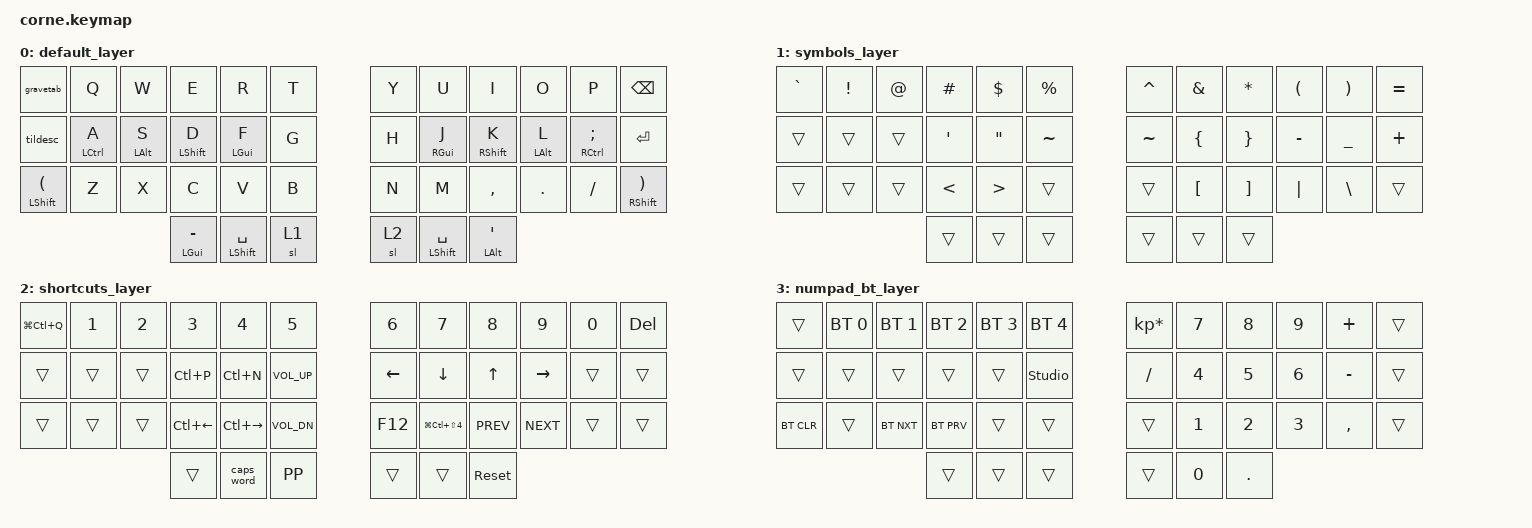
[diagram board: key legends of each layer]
/*
 * Copyright (c) 2020 The ZMK Contributors
 *
 * SPDX-License-Identifier: MIT
 */

#include <behaviors.dtsi>
#include <dt-bindings/zmk/keys.h>
#include <dt-bindings/zmk/bt.h>

&mt {
  tapping-term-ms = <201>;
  flavor = "tap-preferred";
 };

/ {
        conditional_layers {
           compatible = "zmk,conditional-layers";
            tri_layer {
                if-layers = <1 2>;
                then-layer = <3>;
            };
        }; 

        behaviors {
            tildesc: tilde_escape {
                compatible = "zmk,behavior-mod-morph";
                #binding-cells = <0>;
                bindings = <&kp ESC>, <&kp TILDE>;
                mods = <(MOD_LSFT|MOD_RSFT)>;
            };
      
            gravetab: grave_tab {
                compatible = "zmk,behavior-mod-morph";
                #binding-cells = <0>;
                bindings = <&kp TAB>, <&kp GRAVE>;
                mods = <(MOD_LSFT|MOD_RSFT)>;
            };
      
            lhm: left_homerow_mods {
                compatible = "zmk,behavior-hold-tap";
                #binding-cells = <2>;
                tapping-term-ms = <350>;
                quick-tap-ms = <100>;
                flavor = "tap-preferred";
                bindings = <&kp>, <&kp>;
                hold-trigger-key-positions = <6 7 8 9 10 11 13 14 15 16 18 19 20 21 22 23 30 31 32 33 34 35 36 37 38 39 40 41>;
            };

            rhm: right_homerow_mods {
                compatible = "zmk,behavior-hold-tap";
                #binding-cells = <2>;
                tapping-term-ms = <350>;
                quick-tap-ms = <100>;
                flavor = "tap-preferred";
                bindings = <&kp>, <&kp>;
                hold-trigger-key-positions = <0 1 2 3 4 5 12 13 14 15 16 17 19 20 21 22 24 25 26 27 28 29 36 37 38 39 40 41>;
            };
        };

        keymap {
                compatible = "zmk,keymap";

                default_layer {
// ----------------------------------------------------------------------------------------------------------------------------------------------------
// | TAB / `  |  Q         |  W        |  E           |  R        |  T  | - |  Y        |  U           |  I        |  O        |  P        | BSPC     |
// | ESC / ~  |  LCTL / A  | LALT / S  | LSFT / D     | LGUI / F  |  G  | - |  H        | RGUI / J     | RSFT / K  | LALT / L  | RCTL / ;  | RET      |
// | LSFT / ( |  Z         |  X        |  C           |  V        |  B  | - |  N        |  M           |  ,        |  .        |  /        | RSFT / ) |
//                         | LGUI / -  | LSHIFT / SPC | SYMBOLS             | SHORTCUTS | RSHIFT / SPC | LALT / '  |
                        bindings = <
   &gravetab       &kp Q           &kp W            &kp E         &kp R        &kp T   &kp Y             &kp U        &kp I          &kp O        &kp P            &kp BSPC
   &tildesc        &lhm LCTRL A    &lhm LALT S      &lhm LSHIFT D &lhm LGUI F  &kp G   &kp H             &rhm RGUI J  &rhm RSHIFT K  &rhm LALT L  &rhm RCTRL SEMI  &kp RET
   &mt LSHIFT LPAR &kp Z           &kp X            &kp C         &kp V        &kp B   &kp N             &kp M        &kp COMMA      &kp DOT      &kp FSLH         &mt RSHIFT RPAR
                   &mt LGUI MINUS  &mt LSHIFT SPACE &sl 1                      &sl 2   &mt LSHIFT SPACE  &mt LALT SQT
                        >;
                };
                symbols_layer {
// ------------------------------------------------------------------------------------------
// |  `       |  !  |  @  |  #  |  $  |  %  |   |  ^     |  &  |  *  |  (  |  )  |  =       |
// | ESC / ~  |  A  |  S  |  '  |  "  |  ~  |   |  ~     |  {  |  }  |  -  |  _  |  +       |
// | LSFT / ( |  Z  |  X  |  <  |  >  |  B  |   |  N     |  [  |  ]  |  |  |  \  | RSFT / ) |
//                        |  -  | SPC |     |   | NUMPAD | SPC |  '  |
                        bindings = <
   &kp GRAVE  &kp EXCL  &kp AT   &kp HASH   &kp DLLR   &kp PRCNT      &kp CARET  &kp AMPS  &kp ASTRK  &kp LPAR    &kp RPAR   &kp EQUAL
   &trans     &trans    &trans   &kp SQT    &kp DQT    &kp TILDE      &kp TILDE  &kp LBRC  &kp RBRC   &kp MINUS   &kp UNDER  &kp PLUS
   &trans     &trans    &trans   &kp LT     &kp GT     &trans         &trans     &kp LBKT  &kp RBKT   &kp PIPE    &kp BSLH   &trans
                                 &trans     &trans     &trans         &trans     &trans    &trans
                        >;
                };

                shortcuts_layer {
// -----------------------------------------------------------------------------------------
// | LOCK |  1  |  2  |  3       |  4       |  5         |   |  6  |  7    |  8    |  9   |  0  | DEL |
// |      |     |     | LCTL(P)  | LCTL(N)  | VOL_UP     |   | LFT | DWN   |  UP   | RHT  |     |     |
// |      |     |     | LCTL(<-) | LCTL(->) | VOL_DOWN   |   | F12 | SCSHT | PREV  | NEXT |     |     |
//                    |   -      |  CAPS    | PLAY/PAUSE |   |     |       | RESET |
                        bindings = <
   &kp LG(LC(Q)) &kp N1 &kp N2 &kp N3       &kp N4         &kp N5            &kp N6   &kp N7             &kp N8      &kp N9     &kp N0 &kp DEL
   &trans        &trans &trans &kp LC(P)    &kp LC(N)      &kp K_VOL_UP      &kp LEFT &kp DOWN           &kp UP      &kp RIGHT  &trans &trans
   &trans        &trans &trans &kp LC(LEFT) &kp LC(RIGHT)  &kp K_VOL_DN      &kp F12  &kp LG(LC(LS(N4))) &kp K_PREV  &kp K_NEXT &trans &trans
                               &trans       &caps_word     &kp K_PP          &trans   &trans             &sys_reset
                        >;
                };

                numpad_bt_layer {
// -----------------------------------------------------------------------------------------
// |          | BT 0 | BT 1  | BT 2  | BT 3 | BT 4        |   |  *  |  7  |  8  |  9  |  +  |    |
// |          |      |       |       |      | STDIO_UNLCK |   |  /  |  4  |  5  |  6  |  -  |    |
// | BT_CLEAR |      | BT -> | BT <- |      |             |   |     |  1  |  2  |  3  |  ,  |    |
//                   |       |       |      |             |   |           |  0  |  .  |
                        bindings = <
   &trans     &bt BT_SEL 0 &bt BT_SEL 1 &bt BT_SEL 2 &bt BT_SEL 3 &bt BT_SEL 4        &kp KP_MULTIPLY &kp N7  &kp N8  &kp N9 &kp PLUS  &trans
   &trans     &trans       &trans       &trans       &trans       &studio_unlock      &kp SLASH       &kp N4  &kp N5  &kp N6 &kp MINUS &trans
   &bt BT_CLR &trans       &bt BT_NXT   &bt BT_PRV   &trans       &trans              &trans          &kp N1  &kp N2  &kp N3 &kp COMMA &trans
                                        &trans       &trans       &trans              &trans          &kp N0  &kp DOT
                        >;
                };
        };
};
